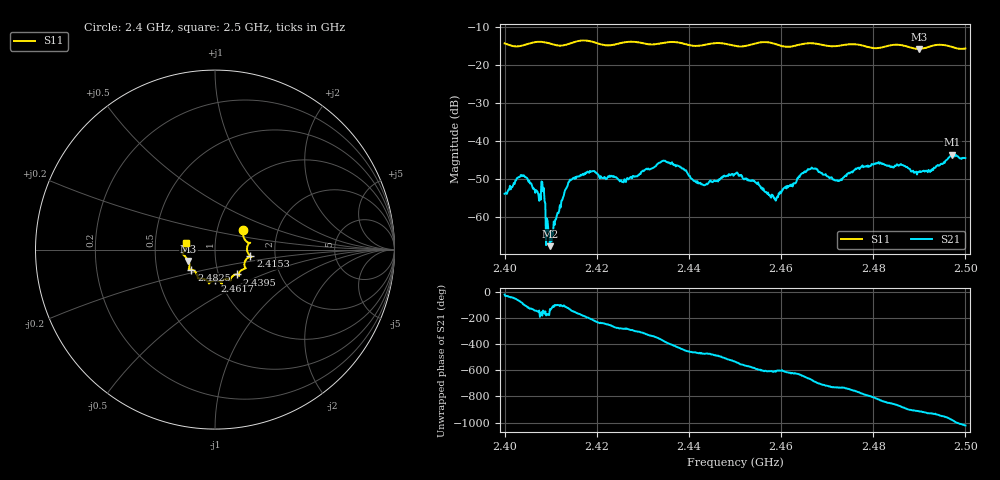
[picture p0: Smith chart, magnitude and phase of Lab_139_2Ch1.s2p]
# Hz S RI R 50
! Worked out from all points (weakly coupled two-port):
!   601 points, 2.4 GHz to 2.5 GHz, reference 50 ohm
!   highest |S21| = -43.61 dB at 2.4972 GHz (marker M1); lowest = -67.6 dB at 2.4098 GHz (marker M2)
!   lowest |S11| = -15.8 dB at 2.49 GHz (marker M3), VSWR 1.38, Z = 36.8 - j4.76 ohm
!   |S11| at or under -10 dB: start of sweep to end of sweep
!   S12 and S22 are empty: the file has one direction only
!   S11 on the Smith chart (normalised r, x): 2.4 GHz: 1.33, +0.30; 2.4153 GHz: 1.49, -0.11; 2.4395 GHz: 1.22, -0.35; 2.4617 GHz: 0.94, -0.33; 2.4825 GHz: 0.75, -0.17; 2.5 GHz: 0.72, +0.05
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2.4e9  0.1562 0.1088  0.00191 -0.000698  0 0  0 0
2.403833e9  0.1716 0.0491  0.000346 -0.00353  0 0  0 0
2.408167e9  0.1953 0.0386  -0.0029 5.66e-05  0 0  0 0
2.409333e9  0.1905 0.0351  -0.00088 -9.09e-05  0 0  0 0
2.409833e9  0.1873 0.0314  -0.000277 -0.000311  0 0  0 0
2.413667e9  0.1846 -0.0203  -0.00141 -0.00216  0 0  0 0
2.415333e9  0.1969 -0.0368  -0.00308 -0.00137  0 0  0 0
2.416667e9  0.2036 -0.0414  -0.00352 -0.000266  0 0  0 0
2.425833e9  0.1685 -0.1003  0.000612 0.0028  0 0  0 0
2.433333e9  0.1331 -0.1332  0.00505 0.000634  0 0  0 0
2.4395e9  0.1226 -0.1383  -0.000177 -0.00396  0 0  0 0
2.443167e9  0.0896 -0.1574  -0.000993 -0.00244  0 0  0 0
2.45e9  0.0666 -0.1641  -0.00369 -0.000315  0 0  0 0
2.458833e9  0.0333 -0.1834  -0.000529 0.00156  0 0  0 0
2.461667e9  0.000715 -0.172  -0.000531 0.00251  0 0  0 0
2.466667e9  -0.0338 -0.1885  0.00311 0.00323  0 0  0 0
2.472167e9  -0.0692 -0.1618  0.00296 -0.000536  0 0  0 0
2.4825e9  -0.1319 -0.1111  -0.00247 -0.00417  0 0  0 0
2.483333e9  -0.1393 -0.1102  -0.00298 -0.00364  0 0  0 0
2.49e9  -0.1485 -0.063  -0.00381 0.000954  0 0  0 0
2.497167e9  -0.1704 -0.00829  -0.00098 0.00653  0 0  0 0
2.5e9  -0.1598 0.0348  0.0032 0.00503  0 0  0 0
